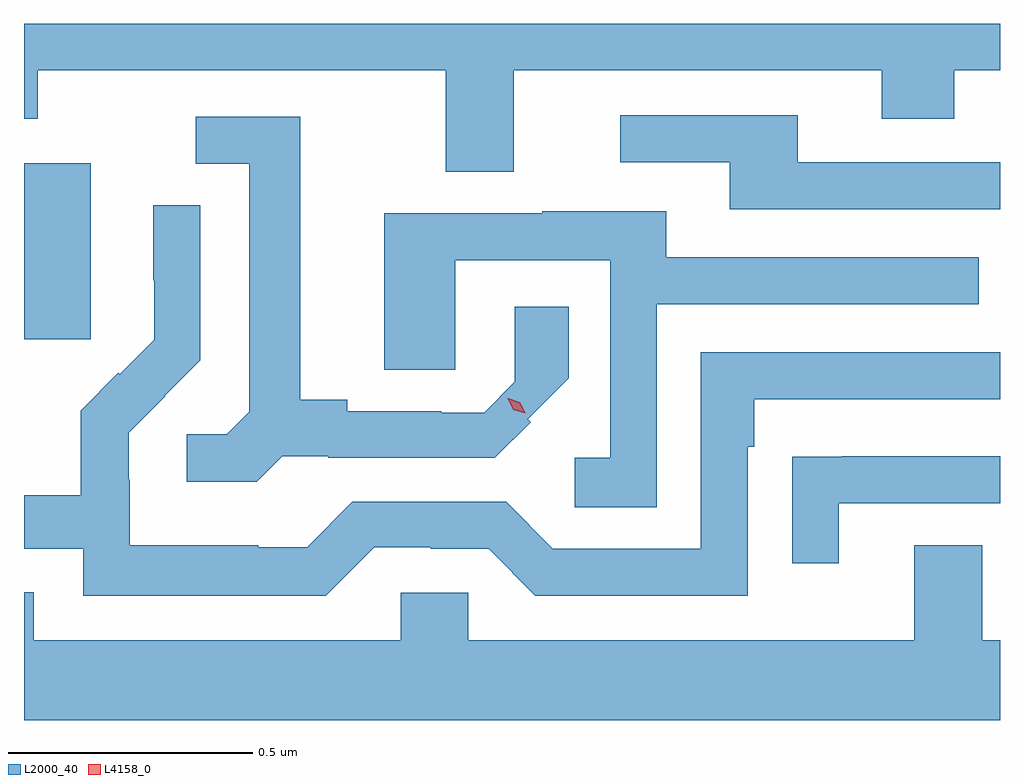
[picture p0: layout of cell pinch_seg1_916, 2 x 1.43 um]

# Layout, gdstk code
import gdstk
lib = gdstk.Library(unit=1e-6, precision=1e-09)
def R(c, l, rs):  # rectangles x0, y0, x1, y1
    for r in rs: c.add(gdstk.rectangle(r[:2], r[2:], *l))
def P(c, l, *ps):  # polygons
    for p in ps: c.add(gdstk.Polygon(p, *l))
L2000_40 = (2000, 40)
L4158_0 = (4158, 0)

pinch_seg1_916 = lib.new_cell('pinch_seg1_916')
R(pinch_seg1_916, L2000_40, [(615.803,509.889,615.94,510.25)])
P(pinch_seg1_916, L2000_40, [(616.807,510.44),(617.561,510.44),(617.561,510.341),(617.709,510.341),(617.709,510.44),(617.803,510.44),(617.803,510.536),(615.803,510.536),(615.803,510.341),(615.831,510.341),(615.831,510.44),(616.667,510.44),(616.667,510.232),(616.807,510.232)],
  [(617.803,510.252),(617.389,510.252),(617.389,510.348),(617.025,510.348),(617.025,510.252),(617.249,510.252),(617.249,510.156),(617.803,510.156)],
  [(616.332,509.649),(616.426,509.649),(616.426,509.646),(616.768,509.646),(616.841,509.719),(616.835,509.725),(616.919,509.809),(616.919,509.956),(616.809,509.956),(616.809,509.802),(616.746,509.739),(616.658,509.739),(616.658,509.742),(616.465,509.742),(616.465,509.765),(616.369,509.765),(616.369,510.345),(616.155,510.345),(616.155,510.249),(616.265,510.249),(616.265,509.741),(616.218,509.694),(616.137,509.694),(616.137,509.597),(616.28,509.597)],
  [(616.521,509.463),(616.637,509.463),(616.637,509.46),(616.755,509.46),(616.851,509.364),(617.286,509.364),(617.286,509.669),(617.299,509.669),(617.299,509.766),(617.803,509.766),(617.803,509.862),(617.19,509.862),(617.19,509.46),(616.887,509.46),(616.791,509.556),(616.476,509.556),(616.383,509.463),(616.283,509.463),(616.283,509.467),(616.02,509.467),(616.02,509.601),(616.018,509.601),(616.018,509.698),(616.092,509.772),(616.091,509.773),(616.164,509.846),(616.164,510.164),(616.068,510.164),(616.068,510.01),(616.07,510.01),(616.07,509.888),(615.999,509.817),(615.996,509.82),(615.919,509.743),(615.919,509.569),(615.803,509.569),(615.803,509.46),(615.924,509.46),(615.924,509.363),(616.421,509.363)],
  [(617.1,509.961),(617.759,509.961),(617.759,510.057),(617.119,510.057),(617.119,510.151),(616.865,510.151),(616.865,510.147),(616.541,510.147),(616.541,509.827),(616.687,509.827),(616.687,510.051),(617.004,510.051),(617.004,509.646),(616.932,509.646),(616.932,509.545),(617.1,509.545)],
  [(617.473,509.553),(617.803,509.553),(617.803,509.649),(617.479,509.649),(617.479,509.648),(617.377,509.648),(617.377,509.43),(617.473,509.43)],
  [(617.803,509.272),(617.767,509.272),(617.767,509.467),(617.627,509.467),(617.627,509.272),(616.713,509.272),(616.713,509.37),(616.575,509.37),(616.575,509.272),(615.823,509.272),(615.823,509.371),(615.803,509.371),(615.803,509.108),(617.803,509.108)])
P(pinch_seg1_916, L4158_0, [(616.83,509.737),(616.806,509.745),(616.794,509.768),(616.794,509.768),(616.795,509.768),(616.819,509.76),(616.83,509.738),(616.83,509.737)])

lib.write_gds('pinch_seg1_916.gds')
